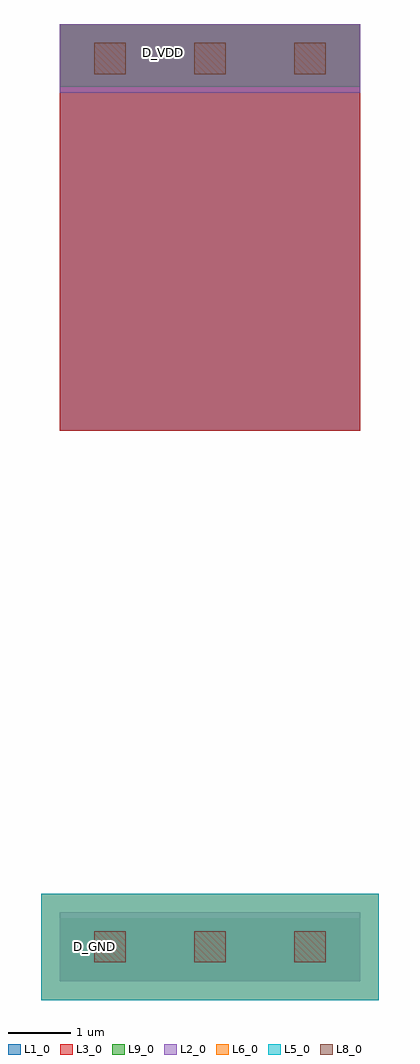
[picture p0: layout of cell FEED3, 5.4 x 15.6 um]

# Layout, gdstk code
import gdstk
lib = gdstk.Library(unit=1e-6, precision=1e-09)
def R(c, l, rs):  # rectangles x0, y0, x1, y1
    for r in rs: c.add(gdstk.rectangle(r[:2], r[2:], *l))
def A(c, l, x, y, w, h, nx, ny, dx, dy):  # array of equal rectangles
    R(c, l, [(x+i*dx, y+j*dy, x+i*dx+w, y+j*dy+h) for i in range(nx) for j in range(ny)])
L1_0 = (1, 0)
L2_0 = (2, 0)
L3_0 = (3, 0)
L5_0 = (5, 0)
L6_0 = (6, 0)
L8_0 = (8, 0)
L9_0 = (9, 0)

feed3 = lib.new_cell('FEED3')
A(feed3, L1_0, 0, 8.8, 1.6, 6.5, 3, 1, 1.6, 0)
A(feed3, L2_0, 0, 0, 1.6, 1.1, 3, 2, 1.6, 14.2)
A(feed3, L3_0, 0, 8.8, 1.6, 6.5, 3, 1, 1.6, 0)
R(feed3, L5_0, [(-0.3,-0.3,1.6,1.4), (1.6,-0.3,3.2,1.4), (3.2,-0.3,5.1,1.4)])
R(feed3, L6_0, [(-0.3,-0.3,1.6,1.4), (1.6,-0.3,3.2,1.4), (3.2,-0.3,5.1,1.4)])
A(feed3, L8_0, 0.55, 0.3, 0.5, 0.5, 3, 2, 1.6, 14.2)
A(feed3, L9_0, 0, 0, 1.6, 1, 3, 2, 1.6, 14.3)
R(feed3, L9_0, [(0.1,0.1,1,1), (1.2,14.4,2.1,15.3)])
feed3.add(gdstk.Label('D_GND', (0.55,0.55), layer=50, texttype=0))
feed3.add(gdstk.Label('D_VDD', (1.65,14.85), layer=50, texttype=0))

lib.write_gds('FEED3.gds')
